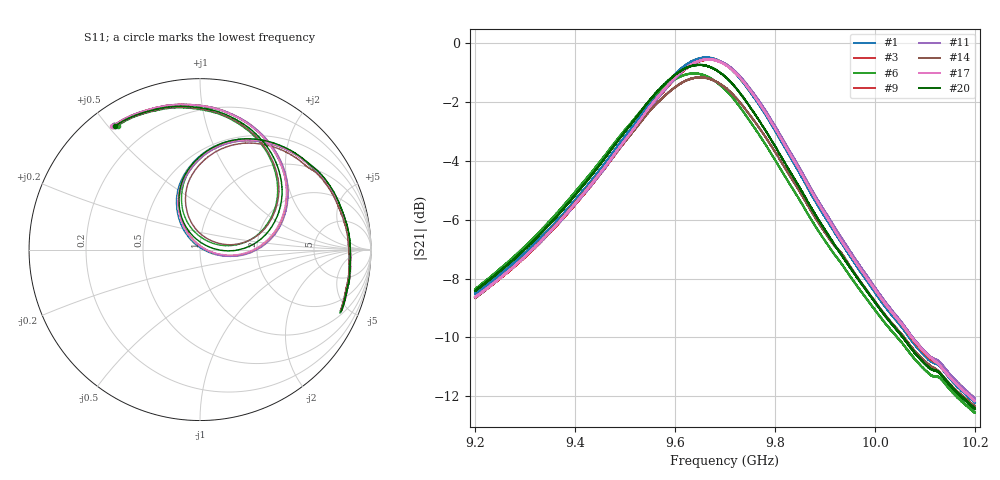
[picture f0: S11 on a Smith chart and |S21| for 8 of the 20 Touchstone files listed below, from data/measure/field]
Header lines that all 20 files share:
!Agilent Technologies,N5242A,MY51221714,A.09.90.19
!Agilent N5242A: A.09.90.19
!Correction: S11(Full 2 Port(1,2))
!S21(Full 2 Port(1,2))
!S12(Full 2 Port(1,2))
!S22(Full 2 Port(1,2))
!S2P File: Measurements: S11, S21, S12, S22:
# Hz S  dB  R 50
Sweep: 9.2 GHz to 10.2 GHz
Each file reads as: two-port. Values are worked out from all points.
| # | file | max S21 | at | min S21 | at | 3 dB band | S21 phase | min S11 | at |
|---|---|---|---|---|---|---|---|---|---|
| 1 | b0_1.s2p | -0.48 dB | 9.664 GHz | -12.2 dB | 10.2 GHz | 9.486 GHz-9.817 GHz | -127 deg at 9.7 GHz | -40.8 dB | 9.664 GHz |
| 2 | b0_2.s2p | -0.46 dB | 9.661 GHz | -12.2 dB | 10.2 GHz | 9.484 GHz-9.815 GHz | -128 deg at 9.7 GHz | -40.5 dB | 9.662 GHz |
| 3 | b12_1.s2p | -0.55 dB | 9.671 GHz | -12.1 dB | 10.2 GHz | 9.491 GHz-9.824 GHz | -125 deg at 9.7 GHz | -34.6 dB | 9.671 GHz |
| 4 | b12_2.s2p | -1.43 dB | 9.641 GHz | -12.5 dB | 10.2 GHz | 9.447 GHz-9.812 GHz | -133 deg at 9.7 GHz | -21.2 dB | 9.643 GHz |
| 5 | b13_1.s2p | -0.54 dB | 9.671 GHz | -12.1 dB | 10.2 GHz | 9.495 GHz-9.826 GHz | -124 deg at 9.7 GHz | -35.3 dB | 9.673 GHz |
| 6 | b13_2.s2p | -1.02 dB | 9.639 GHz | -12.6 dB | 10.2 GHz | 9.45 GHz-9.802 GHz | -134 deg at 9.7 GHz | -23.9 dB | 9.641 GHz |
| 7 | b14_1.s2p | -0.54 dB | 9.663 GHz | -12.2 dB | 10.2 GHz | 9.486 GHz-9.819 GHz | -127 deg at 9.7 GHz | -35.7 dB | 9.665 GHz |
| 8 | b14_2.s2p | -0.81 dB | 9.654 GHz | -12.3 dB | 10.2 GHz | 9.474 GHz-9.817 GHz | -129 deg at 9.7 GHz | -27.0 dB | 9.66 GHz |
| 9 | b15_1.s2p | -0.54 dB | 9.665 GHz | -12.2 dB | 10.2 GHz | 9.489 GHz-9.822 GHz | -126 deg at 9.7 GHz | -35.5 dB | 9.67 GHz |
| 10 | b15_2.s2p | -0.91 dB | 9.63 GHz | -12.6 dB | 10.2 GHz | 9.447 GHz-9.795 GHz | -135 deg at 9.7 GHz | -23.8 dB | 9.636 GHz |
| 11 | b16_1.s2p | -0.53 dB | 9.67 GHz | -12.1 dB | 10.2 GHz | 9.491 GHz-9.825 GHz | -125 deg at 9.7 GHz | -35.9 dB | 9.671 GHz |
| 12 | b16_2.s2p | -0.89 dB | 9.65 GHz | -12.4 dB | 10.2 GHz | 9.466 GHz-9.812 GHz | -130 deg at 9.7 GHz | -25.0 dB | 9.654 GHz |
| 13 | b17_1.s2p | -0.54 dB | 9.67 GHz | -12.1 dB | 10.2 GHz | 9.491 GHz-9.824 GHz | -125 deg at 9.7 GHz | -35.0 dB | 9.671 GHz |
| 14 | b17_2.s2p | -1.15 dB | 9.646 GHz | -12.4 dB | 10.2 GHz | 9.462 GHz-9.817 GHz | -130 deg at 9.7 GHz | -22.3 dB | 9.655 GHz |
| 15 | b18_1.s2p | -0.54 dB | 9.674 GHz | -12.1 dB | 10.2 GHz | 9.494 GHz-9.827 GHz | -124 deg at 9.7 GHz | -36.1 dB | 9.674 GHz |
| 16 | b18_2.s2p | -0.54 dB | 9.665 GHz | -12.2 dB | 10.2 GHz | 9.488 GHz-9.822 GHz | -126 deg at 9.7 GHz | -34.9 dB | 9.668 GHz |
| 17 | c1_1.s2p | -0.54 dB | 9.664 GHz | -12.2 dB | 10.2 GHz | 9.489 GHz-9.822 GHz | -126 deg at 9.7 GHz | -34.7 dB | 9.669 GHz |
| 18 | c1_2.s2p | -0.55 dB | 9.664 GHz | -12.2 dB | 10.2 GHz | 9.486 GHz-9.819 GHz | -127 deg at 9.7 GHz | -34.4 dB | 9.665 GHz |
| 19 | c2_1.s2p | -0.54 dB | 9.662 GHz | -12.2 dB | 10.2 GHz | 9.485 GHz-9.818 GHz | -127 deg at 9.7 GHz | -34.7 dB | 9.665 GHz |
| 20 | c2_2.s2p | -0.73 dB | 9.647 GHz | -12.4 dB | 10.2 GHz | 9.468 GHz-9.808 GHz | -131 deg at 9.7 GHz | -28.5 dB | 9.652 GHz |
